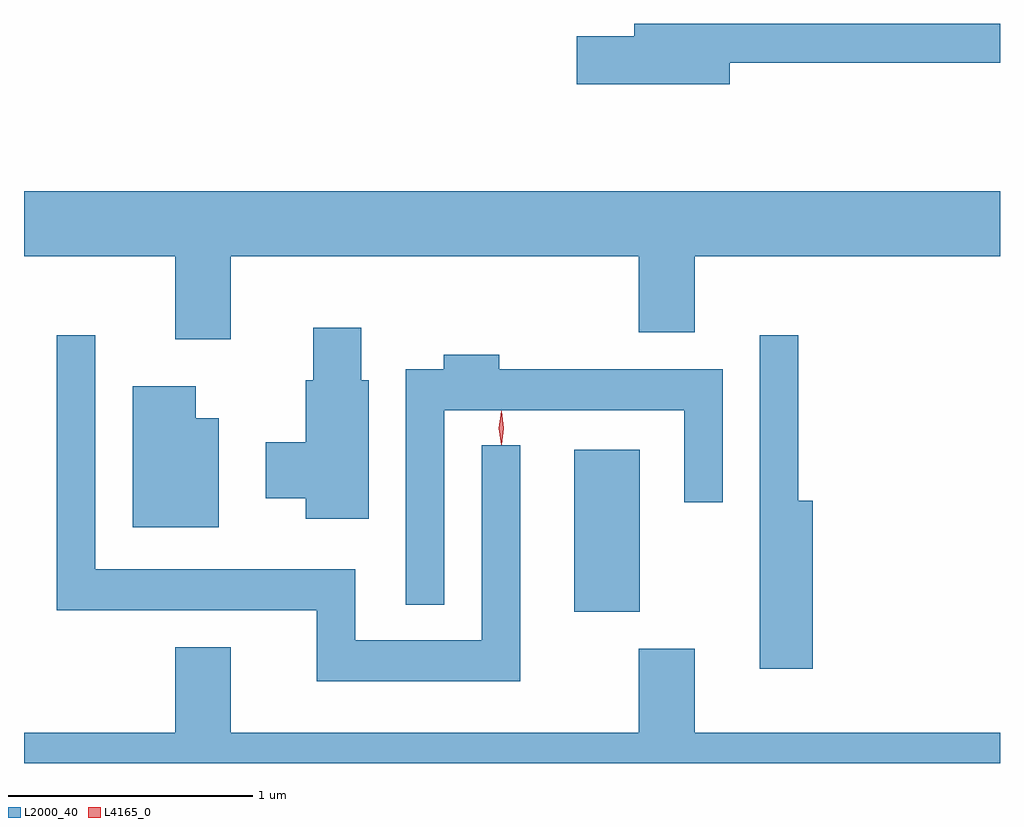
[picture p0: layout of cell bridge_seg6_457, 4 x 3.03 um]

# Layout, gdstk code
import gdstk
lib = gdstk.Library(unit=1e-6, precision=1e-09)
def R(c, l, rs):  # rectangles x0, y0, x1, y1
    for r in rs: c.add(gdstk.rectangle(r[:2], r[2:], *l))
def P(c, l, *ps):  # polygons
    for p in ps: c.add(gdstk.Polygon(p, *l))
L2000_40 = (2000, 40)
L4165_0 = (4165, 0)

bridge_seg6_457 = lib.new_cell('bridge_seg6_457')
R(bridge_seg6_457, L2000_40, [(668.506,1533.041,668.774,1533.704)])
P(bridge_seg6_457, L2000_40, [(669.144,1535.291),(670.251,1535.291),(670.251,1535.449),(668.751,1535.449),(668.751,1535.399),(668.516,1535.399),(668.516,1535.201),(669.144,1535.201)],
  [(667.099,1534.496),(668.771,1534.496),(668.771,1534.186),(668.999,1534.186),(668.999,1534.496),(670.251,1534.496),(670.251,1534.764),(666.251,1534.764),(666.251,1534.496),(666.871,1534.496),(666.871,1534.156),(667.099,1534.156)],
  [(667.664,1533.989),(667.634,1533.989),(667.634,1534.204),(667.436,1534.204),(667.436,1533.989),(667.406,1533.989),(667.406,1533.734),(667.241,1533.734),(667.241,1533.506),(667.406,1533.506),(667.406,1533.421),(667.664,1533.421)],
  [(669.484,1533.494),(669.424,1533.494),(669.424,1534.173),(669.266,1534.173),(669.266,1532.806),(669.484,1532.806)],
  [(668.284,1533.723),(668.126,1533.723),(668.126,1532.924),(667.609,1532.924),(667.609,1533.214),(666.544,1533.214),(666.544,1534.173),(666.386,1534.173),(666.386,1533.046),(667.451,1533.046),(667.451,1532.756),(668.284,1532.756)],
  [(667.974,1533.866),(668.956,1533.866),(668.956,1533.488),(669.114,1533.488),(669.114,1534.034),(668.199,1534.034),(668.199,1534.094),(667.971,1534.094),(667.971,1534.034),(667.816,1534.034),(667.816,1533.068),(667.974,1533.068)],
  [(667.049,1533.834),(666.954,1533.834),(666.954,1533.964),(666.696,1533.964),(666.696,1533.386),(667.049,1533.386)],
  [(670.251,1532.544),(668.999,1532.544),(668.999,1532.889),(668.771,1532.889),(668.771,1532.544),(667.099,1532.544),(667.099,1532.894),(666.871,1532.894),(666.871,1532.544),(666.251,1532.544),(666.251,1532.42),(670.251,1532.42)])
P(bridge_seg6_457, L4165_0, [(668.207,1533.724),(668.207,1533.724),(668.197,1533.793),(668.207,1533.862),(668.207,1533.863),(668.208,1533.862),(668.217,1533.793),(668.208,1533.724)])

lib.write_gds('bridge_seg6_457.gds')
